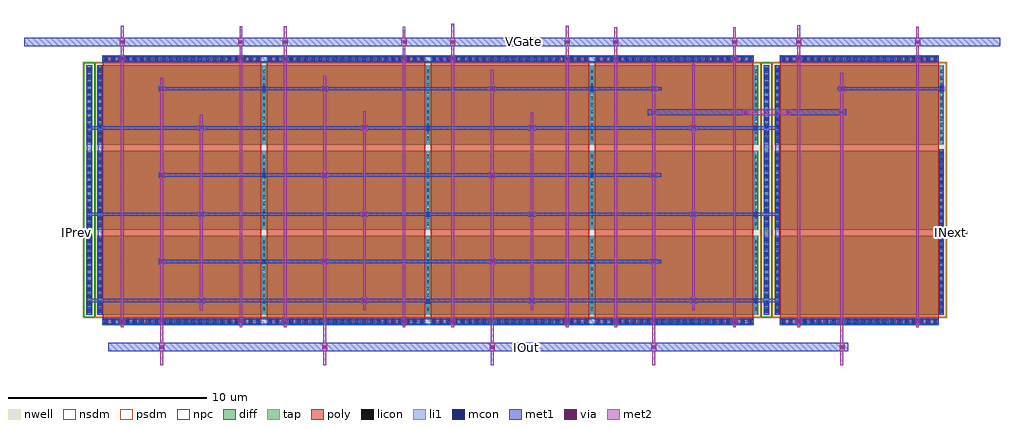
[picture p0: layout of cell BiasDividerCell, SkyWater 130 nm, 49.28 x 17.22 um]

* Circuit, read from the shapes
.subckt BiasDividerCell INext IOut IPrev VGate
XM1 IOut VGate IPrev IPrev sky130_fd_pr__pfet_01v8 w=4 l=8 m=13
XM2 INext VGate IPrev IPrev sky130_fd_pr__pfet_01v8 w=4 l=8 m=2
.ends

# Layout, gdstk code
import gdstk
lib = gdstk.Library(unit=1e-6, precision=1e-09)
def R(c, l, rs):  # rectangles x0, y0, x1, y1
    for r in rs: c.add(gdstk.rectangle(r[:2], r[2:], *l))
def A(c, l, x, y, w, h, nx, ny, dx, dy):  # array of equal rectangles
    R(c, l, [(x+i*dx, y+j*dy, x+i*dx+w, y+j*dy+h) for i in range(nx) for j in range(ny)])
nwell = (64, 20)
diff = (65, 20)
tap = (65, 44)
poly = (66, 20)
licon = (66, 44)
li1 = (67, 20)
mcon = (67, 44)
met1 = (68, 20)
via = (68, 44)
met2 = (69, 20)
nsdm = (93, 44)
psdm = (94, 20)
npc = (95, 20)

biasdividercell = lib.new_cell('BiasDividerCell')
R(biasdividercell, nwell, [(3.045,2.195,46.695,15.155)])
A(biasdividercell, diff, 3.785, 2.375, 33.37, 4, 1, 3, 0, 4.3)
A(biasdividercell, diff, 37.985, 2.375, 8.53, 4, 1, 3, 0, 4.3)
A(biasdividercell, diff, 37.485, 2.59, 0.17, 0.17, 1, 11, 0, 0.34)
A(biasdividercell, diff, 37.485, 6.89, 0.17, 0.17, 1, 11, 0, 0.34)
A(biasdividercell, diff, 37.485, 11.19, 0.17, 0.17, 1, 11, 0, 0.34)
R(biasdividercell, diff, [(3.225,2.375,3.515,6.375), (37.435,2.375,37.705,14.975)])
R(biasdividercell, tap, [(3.225,6.675,3.515,10.675), (3.225,10.975,3.515,14.975)])
A(biasdividercell, poly, 4.05, 1.915, 8, 13.52, 4, 1, 8.28, 0)
R(biasdividercell, poly, [(38.25,1.915,46.25,15.435)])
A(biasdividercell, licon, 4.13, 1.965, 0.17, 0.17, 17, 2, 0.35, 13.25)
A(biasdividercell, licon, 10.075, 1.965, 0.17, 0.17, 6, 2, 0.345, 13.25)
A(biasdividercell, licon, 12.41, 1.965, 0.17, 0.17, 7, 2, 0.345, 13.25)
A(biasdividercell, licon, 14.83, 1.965, 0.17, 0.17, 16, 2, 0.35, 13.25)
A(biasdividercell, licon, 20.69, 1.965, 0.17, 0.17, 17, 2, 0.35, 13.25)
A(biasdividercell, licon, 26.635, 1.965, 0.17, 0.17, 6, 2, 0.345, 13.25)
A(biasdividercell, licon, 28.97, 1.965, 0.17, 0.17, 17, 1, 0.35, 0)
A(biasdividercell, licon, 34.915, 1.965, 0.17, 0.17, 6, 1, 0.345, 0)
A(biasdividercell, licon, 38.33, 1.965, 0.17, 0.17, 17, 2, 0.35, 13.25)
A(biasdividercell, licon, 44.275, 1.965, 0.17, 0.17, 6, 2, 0.345, 13.25)
A(biasdividercell, licon, 3.285, 2.59, 0.17, 0.17, 1, 11, 0, 0.34)
A(biasdividercell, licon, 3.825, 2.59, 0.17, 0.17, 5, 11, 8.28, 0.34)
A(biasdividercell, licon, 37.485, 2.59, 0.17, 0.17, 1, 11, 0, 0.34)
A(biasdividercell, licon, 38.025, 2.59, 0.17, 0.17, 1, 11, 0, 0.34)
A(biasdividercell, licon, 46.305, 2.59, 0.17, 0.17, 1, 11, 0, 0.34)
A(biasdividercell, licon, 3.285, 6.89, 0.17, 0.17, 1, 11, 0, 0.34)
A(biasdividercell, licon, 3.825, 6.89, 0.17, 0.17, 5, 11, 8.28, 0.34)
A(biasdividercell, licon, 37.485, 6.89, 0.17, 0.17, 1, 11, 0, 0.34)
A(biasdividercell, licon, 38.025, 6.89, 0.17, 0.17, 1, 11, 0, 0.34)
A(biasdividercell, licon, 46.305, 6.89, 0.17, 0.17, 1, 11, 0, 0.34)
A(biasdividercell, licon, 3.285, 11.19, 0.17, 0.17, 1, 11, 0, 0.34)
A(biasdividercell, licon, 3.825, 11.19, 0.17, 0.17, 5, 11, 8.28, 0.34)
A(biasdividercell, licon, 37.485, 11.19, 0.17, 0.17, 1, 11, 0, 0.34)
A(biasdividercell, licon, 38.025, 11.19, 0.17, 0.17, 1, 11, 0, 0.34)
A(biasdividercell, licon, 46.305, 11.19, 0.17, 0.17, 1, 11, 0, 0.34)
A(biasdividercell, licon, 28.97, 15.215, 0.17, 0.17, 7, 1, 0.345, 0)
A(biasdividercell, licon, 31.39, 15.215, 0.17, 0.17, 16, 1, 0.35, 0)
A(biasdividercell, li1, 4.05, 1.935, 8, 0.23, 4, 2, 8.28, 13.25)
A(biasdividercell, li1, 3.235, 2.375, 0.27, 4, 1, 3, 0, 4.3)
A(biasdividercell, li1, 37.435, 2.375, 0.27, 4, 1, 3, 0, 4.3)
A(biasdividercell, li1, 38.025, 2.375, 0.17, 4, 1, 3, 0, 4.3)
A(biasdividercell, li1, 36.93, 3.01, 0.185, 0.17, 1, 3, 0, 4.36)
A(biasdividercell, li1, 28.655, 4.99, 0.18, 0.17, 1, 3, 0, 4.36)
A(biasdividercell, li1, 3.825, 6.675, 0.17, 4, 3, 2, 8.28, 4.3)
R(biasdividercell, li1, [(38.25,1.935,46.25,2.165), (3.825,2.375,4,6.375), (12.105,2.375,12.275,6.375), (20.385,2.375,20.555,6.375), (28.665,2.375,28.835,4.99), (36.945,2.375,37.115,3.01), (46.305,2.375,46.475,6.375), (36.945,3.18,37.115,6.375), (28.665,5.16,28.835,6.375), (28.665,6.675,28.835,9.35), (36.945,6.675,37.115,7.37), (46.305,6.675,46.475,10.735), (36.945,7.54,37.115,10.675), (28.665,9.52,28.835,10.675), (28.665,10.975,28.835,13.71), (36.945,10.975,37.115,11.73), (46.305,10.975,46.475,14.975), (36.945,11.9,37.115,14.975), (28.665,13.88,28.835,14.975), (38.25,15.185,46.25,15.415)])
A(biasdividercell, mcon, 4.5, 1.965, 0.17, 0.17, 21, 2, 0.365, 13.25)
A(biasdividercell, mcon, 12.41, 1.965, 0.17, 0.17, 21, 2, 0.365, 13.25)
A(biasdividercell, mcon, 21.06, 1.965, 0.17, 0.17, 21, 2, 0.365, 13.25)
A(biasdividercell, mcon, 29.34, 1.965, 0.17, 0.17, 21, 1, 0.365, 0)
A(biasdividercell, mcon, 38.7, 1.965, 0.17, 0.17, 21, 2, 0.365, 13.25)
A(biasdividercell, mcon, 3.285, 2.49, 0.17, 0.17, 1, 11, 0, 0.36)
A(biasdividercell, mcon, 3.83, 2.49, 0.17, 0.17, 1, 11, 0, 0.36)
A(biasdividercell, mcon, 37.485, 2.49, 0.17, 0.17, 1, 11, 0, 0.36)
A(biasdividercell, mcon, 38.025, 2.49, 0.17, 0.17, 1, 11, 0, 0.36)
A(biasdividercell, mcon, 46.305, 2.49, 0.17, 0.17, 1, 11, 0, 0.36)
A(biasdividercell, mcon, 36.93, 3.01, 0.17, 0.17, 1, 3, 0, 4.36)
A(biasdividercell, mcon, 12.105, 4.99, 0.17, 0.17, 1, 3, 0, 4.36)
A(biasdividercell, mcon, 28.66, 4.99, 0.17, 0.17, 1, 3, 0, 4.36)
A(biasdividercell, mcon, 3.285, 6.79, 0.17, 0.17, 1, 11, 0, 0.36)
A(biasdividercell, mcon, 3.825, 6.79, 0.17, 0.17, 1, 11, 0, 0.36)
A(biasdividercell, mcon, 37.485, 6.79, 0.17, 0.17, 1, 11, 0, 0.36)
A(biasdividercell, mcon, 38.025, 6.79, 0.17, 0.17, 1, 11, 0, 0.36)
A(biasdividercell, mcon, 46.305, 6.85, 0.17, 0.17, 1, 11, 0, 0.36)
A(biasdividercell, mcon, 38.025, 11.065, 0.17, 0.17, 1, 11, 0, 0.36)
A(biasdividercell, mcon, 3.285, 11.09, 0.17, 0.17, 1, 11, 0, 0.36)
A(biasdividercell, mcon, 3.825, 11.09, 0.17, 0.17, 1, 11, 0, 0.36)
A(biasdividercell, mcon, 37.485, 11.09, 0.17, 0.17, 1, 11, 0, 0.36)
A(biasdividercell, mcon, 28.97, 15.215, 0.17, 0.17, 21, 1, 0.365, 0)
R(biasdividercell, mcon, [(4.13,1.965,4.3,2.135), (20.08,1.965,20.25,2.135), (20.69,1.965,20.86,2.135), (28.97,1.965,29.14,2.135), (38.33,1.965,38.5,2.135), (20.385,2.98,20.555,3.15), (20.385,7.37,20.555,7.54), (20.385,11.73,20.555,11.9), (46.305,13.71,46.475,13.88), (4.13,15.215,4.3,15.385), (20.08,15.215,20.25,15.385), (20.69,15.215,20.86,15.385), (36.64,15.215,36.81,15.385), (38.33,15.215,38.5,15.385)])
A(biasdividercell, met1, 3.235, 3.01, 34.99, 0.17, 1, 3, 0, 4.36)
R(biasdividercell, met1, [(4.33,0.54,41.695,0.96), (4.05,1.915,36.89,2.185), (38.25,1.915,46.25,2.185), (3.235,2.375,3.505,3.01), (3.8,2.375,4.03,3.01), (37.435,2.375,37.705,3.01), (37.995,2.375,38.225,3.01), (46.275,2.375,46.505,6.46), (20.325,2.95,20.615,3.01), (8.87,2.965,9.19,3.01), (17.105,2.965,17.425,3.01), (25.56,2.965,25.88,3.01), (33.715,2.965,34.035,3.01), (36.87,2.98,37.16,3.01), (3.235,3.18,3.505,6.46), (3.8,3.18,4.03,6.675), (8.87,3.18,9.19,3.225), (17.105,3.18,17.425,3.225), (25.56,3.18,25.88,3.225), (33.715,3.18,34.035,3.225), (36.87,3.18,37.16,3.21), (37.435,3.18,37.705,7.37), (37.995,3.18,38.225,7.37), (6.87,4.945,7.19,4.99), (15.105,4.945,15.425,4.99), (23.56,4.945,23.88,4.99), (31.715,4.945,32.035,4.99), (12.045,4.96,12.335,4.99), (28.6,4.96,28.89,4.99), (6.87,4.99,32.255,5.16), (6.87,5.16,7.19,5.205), (12.045,5.16,12.335,5.19), (15.105,5.16,15.425,5.205), (23.56,5.16,23.88,5.205), (28.6,5.16,28.89,5.19), (31.715,5.16,32.035,5.205), (2.045,6.46,3.505,6.63), (46.275,6.46,47.695,6.63), (3.235,6.63,3.505,7.37), (46.275,6.63,46.505,10.735), (3.795,6.675,4.03,7.37), (8.87,7.325,9.19,7.37), (17.105,7.325,17.425,7.37), (25.56,7.325,25.88,7.37), (33.715,7.325,34.035,7.37), (20.325,7.34,20.615,7.37), (36.87,7.34,37.16,7.37), (3.235,7.54,3.505,11.73), (3.795,7.54,4.03,10.675), (8.87,7.54,9.19,7.585), (17.105,7.54,17.425,7.585), (20.325,7.54,20.615,7.57), (25.56,7.54,25.88,7.585), (33.715,7.54,34.035,7.585), (36.87,7.54,37.16,7.57), (37.435,7.54,37.705,11.73), (37.995,7.54,38.225,11.73), (6.87,9.305,7.19,9.35), (15.105,9.305,15.425,9.35), (23.56,9.305,23.88,9.35), (31.715,9.305,32.035,9.35), (12.045,9.32,12.335,9.35), (28.6,9.32,28.89,9.35), (6.87,9.35,32.255,9.52), (6.87,9.52,7.19,9.565), (12.045,9.52,12.335,9.55), (15.105,9.52,15.425,9.565), (23.56,9.52,23.88,9.565), (28.6,9.52,28.89,9.55), (31.715,9.52,32.035,9.565), (3.8,10.675,4.03,10.975), (3.795,10.975,4.03,11.73), (8.87,11.685,9.19,11.73), (17.105,11.685,17.425,11.73), (25.56,11.685,25.88,11.73), (33.715,11.685,34.035,11.73), (20.325,11.7,20.615,11.73), (36.87,11.7,37.16,11.73), (3.235,11.9,3.505,14.975), (3.795,11.9,4.03,14.96), (8.87,11.9,9.19,11.945), (17.105,11.9,17.425,11.945), (20.325,11.9,20.615,11.93), (25.56,11.9,25.88,11.945), (33.715,11.9,34.035,11.945), (36.87,11.9,37.16,11.93), (37.435,11.9,37.705,14.975), (37.995,11.9,38.225,14.975), (31.565,12.465,36.565,12.47), (38.605,12.465,41.59,12.47), (31.565,12.47,36.67,12.76), (38.535,12.47,41.59,12.76), (31.565,12.76,36.565,12.765), (38.605,12.76,41.59,12.765), (6.87,13.665,7.19,13.71), (15.105,13.665,15.425,13.71), (23.56,13.665,23.88,13.71), (31.715,13.665,32.035,13.71), (41.225,13.665,41.545,13.71), (12.045,13.68,12.335,13.71), (28.6,13.68,28.89,13.71), (46.245,13.68,46.535,13.71), (6.87,13.71,32.265,13.88), (41.17,13.71,46.535,13.88), (6.87,13.88,7.19,13.925), (12.045,13.88,12.335,13.91), (15.105,13.88,15.425,13.925), (23.56,13.88,23.88,13.925), (28.6,13.88,28.89,13.91), (31.715,13.88,32.035,13.925), (41.225,13.88,41.545,13.925), (46.245,13.88,46.535,13.91), (3.795,14.96,4.025,14.975), (4.05,15.165,36.89,15.435), (38.25,15.165,46.25,15.435), (0.075,15.945,49.355,16.365)])
A(biasdividercell, via, 8.955, 3.02, 0.15, 0.15, 1, 3, 0, 4.36)
A(biasdividercell, via, 17.19, 3.02, 0.15, 0.15, 1, 3, 0, 4.36)
A(biasdividercell, via, 25.645, 3.02, 0.15, 0.15, 1, 3, 0, 4.36)
A(biasdividercell, via, 33.8, 3.02, 0.15, 0.15, 1, 3, 0, 4.36)
A(biasdividercell, via, 6.955, 5, 0.15, 0.15, 1, 3, 0, 4.36)
A(biasdividercell, via, 15.19, 5, 0.15, 0.15, 1, 3, 0, 4.36)
A(biasdividercell, via, 23.645, 5, 0.15, 0.15, 1, 3, 0, 4.36)
R(biasdividercell, via, [(6.955,0.675,7.105,0.825), (15.19,0.675,15.34,0.825), (23.645,0.675,23.795,0.825), (31.8,0.675,31.95,0.825), (41.31,0.675,41.46,0.825), (4.955,1.975,5.105,2.125), (10.955,1.975,11.105,2.125), (13.19,1.975,13.34,2.125), (19.19,1.975,19.34,2.125), (21.645,1.975,21.795,2.125), (27.425,1.975,27.575,2.125), (29.88,1.975,30.03,2.125), (35.88,1.975,36.03,2.125), (39.12,1.975,39.27,2.125), (45.12,1.975,45.27,2.125), (31.8,5,31.95,5.15), (31.8,9.36,31.95,9.51), (36.435,12.535,36.585,12.685), (38.62,12.535,38.77,12.685), (31.8,12.54,31.95,12.69), (41.295,12.54,41.445,12.69), (31.8,13.72,31.95,13.87), (41.31,13.72,41.46,13.87), (4.955,15.225,5.105,15.375), (10.955,15.225,11.105,15.375), (13.19,15.225,13.34,15.375), (19.19,15.225,19.34,15.375), (21.645,15.225,21.795,15.375), (27.425,15.225,27.575,15.375), (29.88,15.225,30.03,15.375), (35.88,15.225,36.03,15.375), (39.12,15.225,39.27,15.375), (45.12,15.225,45.27,15.375), (4.955,16.08,5.105,16.23), (10.955,16.08,11.105,16.23), (13.19,16.08,13.34,16.23), (19.19,16.08,19.34,16.23), (21.645,16.08,21.795,16.23), (27.425,16.08,27.575,16.23), (29.88,16.08,30.03,16.23), (35.88,16.08,36.03,16.23), (39.12,16.08,39.27,16.23), (45.12,16.08,45.27,16.23)])
A(biasdividercell, met2, 8.9, 2.935, 0.26, 0.32, 1, 3, 0, 4.36)
A(biasdividercell, met2, 17.135, 2.935, 0.26, 0.32, 1, 3, 0, 4.36)
A(biasdividercell, met2, 25.59, 2.935, 0.26, 0.32, 1, 3, 0, 4.36)
A(biasdividercell, met2, 33.745, 2.935, 0.26, 0.32, 1, 3, 0, 4.36)
A(biasdividercell, met2, 6.9, 4.915, 0.26, 0.32, 1, 3, 0, 4.36)
A(biasdividercell, met2, 15.135, 4.915, 0.26, 0.32, 1, 3, 0, 4.36)
A(biasdividercell, met2, 23.59, 4.915, 0.26, 0.32, 1, 3, 0, 4.36)
R(biasdividercell, met2, [(6.96,-0.155,7.1,0.54), (15.195,-0.155,15.335,0.54), (23.65,-0.155,23.79,0.54), (31.805,-0.155,31.945,0.54), (41.3,-0.155,41.44,0.54), (6.9,0.54,7.16,0.96), (15.135,0.54,15.395,0.96), (23.59,0.54,23.85,0.96), (31.745,0.54,32.005,0.96), (41.255,0.54,41.515,0.96), (6.96,0.96,7.1,4.915), (15.195,0.96,15.335,4.915), (23.65,0.96,23.79,4.915), (31.805,0.96,31.945,4.915), (41.3,0.96,41.44,12.455), (4.96,1.755,5.1,1.89), (10.96,1.755,11.1,1.89), (13.195,1.755,13.335,1.89), (19.195,1.755,19.335,1.89), (21.65,1.755,21.79,1.89), (27.43,1.755,27.57,1.89), (29.885,1.755,30.025,1.89), (35.885,1.755,36.025,1.89), (39.125,1.755,39.265,1.89), (45.125,1.755,45.265,1.89), (4.9,1.89,5.16,2.21), (10.9,1.89,11.16,2.21), (13.135,1.89,13.395,2.21), (19.135,1.89,19.395,2.21), (21.59,1.89,21.85,2.21), (27.37,1.89,27.63,2.21), (29.825,1.89,30.085,2.21), (35.825,1.89,36.085,2.21), (39.065,1.89,39.325,2.21), (45.065,1.89,45.325,2.21), (4.96,2.21,5.1,15.14), (10.96,2.21,11.1,15.14), (13.195,2.21,13.335,15.14), (19.195,2.21,19.335,15.14), (21.65,2.21,21.79,15.14), (27.43,2.21,27.57,15.14), (29.885,2.21,30.025,15.14), (35.885,2.21,36.025,15.14), (39.125,2.21,39.265,15.14), (45.125,2.21,45.265,15.14), (8.96,2.615,9.1,2.935), (17.195,2.615,17.335,2.935), (25.65,2.615,25.79,2.935), (33.805,2.615,33.945,2.935), (8.96,3.255,9.1,7.295), (17.195,3.255,17.335,7.295), (25.65,3.255,25.79,7.295), (33.805,3.255,33.945,7.295), (31.745,4.915,32.005,5.235), (6.96,5.235,7.1,9.275), (15.195,5.235,15.335,9.275), (23.65,5.235,23.79,9.275), (31.805,5.235,31.945,9.275), (8.96,7.615,9.1,11.655), (17.195,7.615,17.335,11.655), (25.65,7.615,25.79,11.655), (33.805,7.615,33.945,11.655), (31.745,9.275,32.005,9.595), (6.96,9.595,7.1,13.635), (15.195,9.595,15.335,13.635), (23.65,9.595,23.79,13.635), (31.805,9.595,31.945,12.455), (8.96,11.975,9.1,12.475), (17.195,11.975,17.335,12.665), (25.65,11.975,25.79,12.6), (33.805,11.975,33.945,15.055), (31.745,12.455,32.005,12.775), (41.24,12.455,41.5,12.775), (36.35,12.46,38.785,12.47), (36.35,12.47,38.855,12.76), (31.805,12.775,31.945,13.635), (41.3,12.775,41.44,13.635), (31.745,13.635,32.005,13.955), (41.255,13.635,41.515,13.955), (6.96,13.955,7.1,14.345), (15.195,13.955,15.335,14.46), (23.65,13.955,23.79,14.765), (31.805,13.955,31.945,15.13), (41.3,13.955,41.44,14.59), (4.9,15.14,5.16,15.46), (10.9,15.14,11.16,15.46), (13.135,15.14,13.395,15.46), (19.135,15.14,19.395,15.46), (21.59,15.14,21.85,15.46), (27.37,15.14,27.63,15.46), (29.825,15.14,30.085,15.46), (35.825,15.14,36.085,15.46), (39.065,15.14,39.325,15.46), (45.065,15.14,45.325,15.46), (4.96,15.46,5.1,15.945), (10.96,15.46,11.1,15.945), (13.195,15.46,13.335,15.945), (19.195,15.46,19.335,15.945), (21.65,15.46,21.79,15.945), (27.43,15.46,27.57,15.945), (29.885,15.46,30.025,15.945), (35.885,15.46,36.025,15.945), (39.125,15.46,39.265,15.945), (45.125,15.46,45.265,15.945), (4.9,15.945,5.16,16.365), (10.9,15.945,11.16,16.365), (13.135,15.945,13.395,16.365), (19.135,15.945,19.395,16.365), (21.59,15.945,21.85,16.365), (27.37,15.945,27.63,16.365), (29.825,15.945,30.085,16.365), (35.825,15.945,36.085,16.365), (39.065,15.945,39.325,16.365), (45.065,15.945,45.325,16.365), (4.96,16.365,5.1,16.985), (10.96,16.365,11.1,16.96), (13.195,16.365,13.335,16.96), (19.195,16.365,19.335,16.93), (21.65,16.365,21.79,17.065), (27.43,16.365,27.57,16.97), (29.885,16.365,30.025,16.9), (35.885,16.365,36.025,16.91), (39.125,16.365,39.265,17.01), (45.125,16.365,45.265,16.915)])
R(biasdividercell, nsdm, [(3.1,2.25,3.64,15.1), (37.31,2.25,37.83,15.1)])
R(biasdividercell, psdm, [(3.66,2.25,37.28,2.465), (37.86,2.25,46.64,2.465), (37.86,2.25,46.64,15.1), (3.66,2.465,37.28,14.885), (3.66,14.885,37.28,15.1), (37.86,14.885,46.64,15.1)])
R(biasdividercell, npc, [(4.03,1.865,36.91,2.235), (38.23,1.865,46.27,2.235), (4.03,15.115,36.91,15.485), (38.23,15.115,46.27,15.485)])
biasdividercell.add(gdstk.Label('INext', (46.87,6.54), layer=68, texttype=5))
biasdividercell.add(gdstk.Label('IPrev', (2.705,6.54), layer=68, texttype=5))
biasdividercell.add(gdstk.Label('IOut', (25.44,0.72), layer=68, texttype=5))
biasdividercell.add(gdstk.Label('VGate', (25.315,16.17), layer=68, texttype=5))

lib.write_gds('BiasDividerCell.gds')
